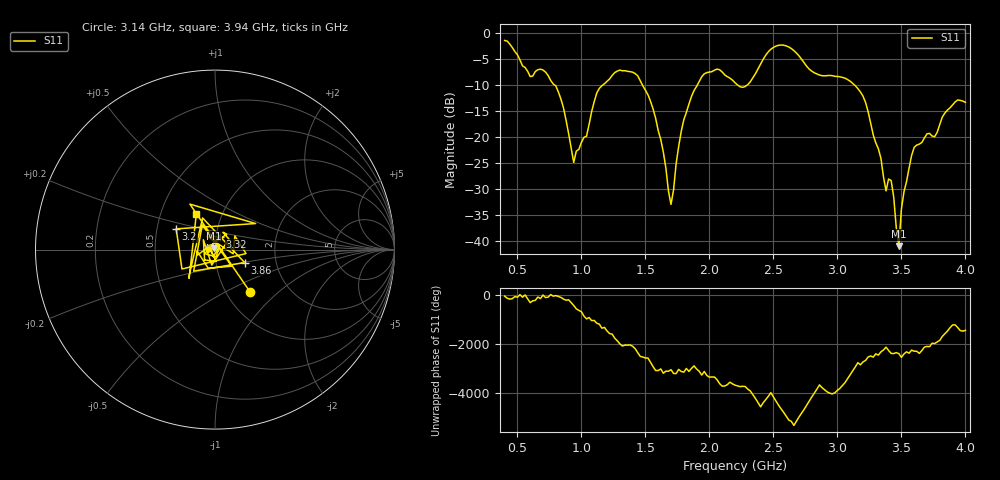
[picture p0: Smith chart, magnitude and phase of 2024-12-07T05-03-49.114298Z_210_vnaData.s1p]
!Created with skrf (http://scikit-rf.org).
# Hz S RI R 50.0
!freq ReS11 ImS11
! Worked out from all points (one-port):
!   181 points, 400 MHz to 4 GHz, reference 50 ohm
!   lowest |S11| = -41.0 dB at 3.48 GHz (marker M1), VSWR 1.02, Z = 49.4 + j0.64 ohm
!   |S11| at or under -10 dB: 786.9 MHz to 1.171 GHz (384 MHz wide, 39.2 % of centre); 1.475 GHz to 1.907 GHz (432 MHz wide, 25.5 % of centre); 3.131 GHz to end of sweep (the widest 3 of 4)
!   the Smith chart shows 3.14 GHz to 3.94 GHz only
!   S11 on the Smith chart (normalised r, x): 3.14 GHz: 1.29, -0.68; 3.2 GHz: 0.63, +0.15; 3.32 GHz: 1.04, +0.15; 3.86 GHz: 1.38, -0.21; 3.94 GHz: 0.75, +0.32
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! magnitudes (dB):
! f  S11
! 400 MHz  -1.5
! 600 MHz  -8.5
! 720 MHz  -7.6
! 860 MHz  -14.5
! 940 MHz  -25.0
! 1.12 GHz  -11.6
! 1.3 GHz  -7.2
! 1.54 GHz  -13.2
! 1.7 GHz  -33.0
! 1.76 GHz  -21.9
! 1.86 GHz  -12.3
! 1.96 GHz  -7.9
! 2.2 GHz  -9.6
! 2.3 GHz  -10.0
! 2.5 GHz  -2.8
! 2.66 GHz  -3.5
! 3.1 GHz  -9.3
! 3.14 GHz  -10.2
! 3.2 GHz  -12.2
! 3.32 GHz  -22.3
! 3.38 GHz  -30.4
! 3.42 GHz  -28.4
! 3.48 GHz  -41.0
! 3.5 GHz  -33.9
! 3.56 GHz  -26.0
! 3.86 GHz  -14.9
! 3.94 GHz  -12.9
! 4 GHz  -13.4
